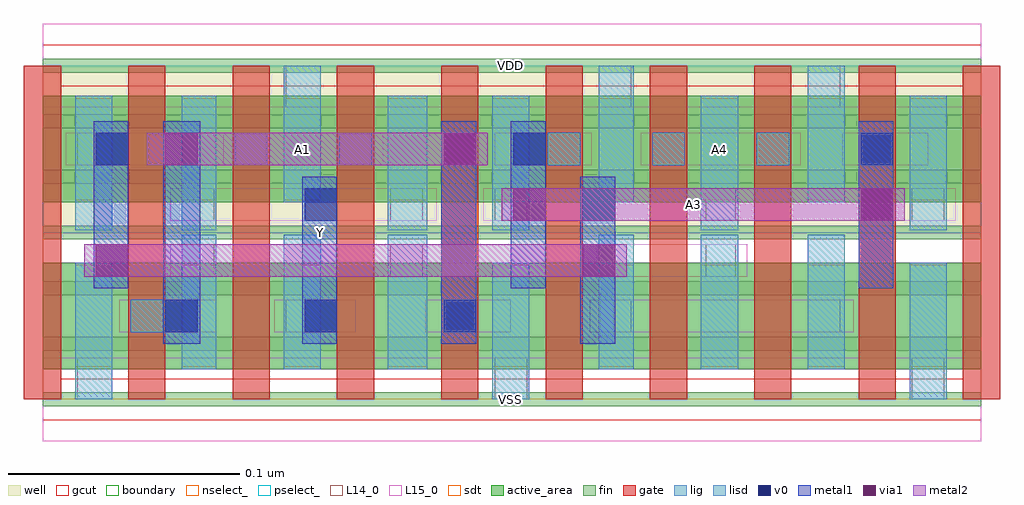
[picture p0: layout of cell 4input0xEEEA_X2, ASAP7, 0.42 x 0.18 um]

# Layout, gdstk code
import gdstk
lib = gdstk.Library(unit=1e-6, precision=1e-09)
def R(c, l, rs):  # rectangles x0, y0, x1, y1
    for r in rs: c.add(gdstk.rectangle(r[:2], r[2:], *l))
def A(c, l, x, y, w, h, nx, ny, dx, dy):  # array of equal rectangles
    R(c, l, [(x+i*dx, y+j*dy, x+i*dx+w, y+j*dy+h) for i in range(nx) for j in range(ny)])
def P(c, l, *ps):  # polygons
    for p in ps: c.add(gdstk.Polygon(p, *l))
well = (1, 0)
fin = (2, 0)
gate = (7, 0)
gcut = (10, 0)
active_area = (11, 0)
nselect_ = (12, 0)
pselect_ = (13, 0)
L14_0 = (14, 0)
L15_0 = (15, 0)
lig = (16, 0)
lisd = (17, 0)
v0 = (18, 0)
metal1 = (19, 0)
metal2 = (20, 0)
via1 = (21, 0)
sdt = (88, 0)
boundary = (100, 0)

c_4input0xeeea_x2 = lib.new_cell('4input0xEEEA_X2')
R(c_4input0xeeea_x2, well, [(0,0.072,0.405,0.144)])
A(c_4input0xeeea_x2, fin, 0, -0.003, 0.405, 0.006, 1, 7, 0, 0.024)
A(c_4input0xeeea_x2, gate, -0.008, 0, 0.016, 0.144, 10, 1, 0.045, 0)
P(c_4input0xeeea_x2, gcut, [(0,-0.009),(0,0),(-0.008,0),(-0.008,0.135),(0.008,0.135),(0.008,0.009),(0.397,0.009),(0.397,0.135),(-0.008,0.135),(-0.008,0.144),(0,0.144),(0,0.153),(0.405,0.153),(0.405,0.144),(0.413,0.144),(0.413,0),(0.405,0),(0.405,-0.009)])
R(c_4input0xeeea_x2, active_area, [(0,0.013,0.405,0.059), (0,0.085,0.405,0.131)])
R(c_4input0xeeea_x2, nselect_, [(0,0,0.405,0.072)])
R(c_4input0xeeea_x2, pselect_, [(0,0.072,0.405,0.144)])
A(c_4input0xeeea_x2, L14_0, 0.218, 0.101, 0.014, 0.014, 4, 1, 0.045, 0)
R(c_4input0xeeea_x2, L14_0, [(0.015,0,0.03,0.018), (0.195,0,0.209,0.018), (0.375,0,0.389,0.018), (0.038,0.029,0.052,0.043), (0.105,0.029,0.12,0.043), (0.173,0.029,0.187,0.043), (0.24,0.029,0.254,0.043), (0.33,0.029,0.344,0.043), (0.06,0.053,0.074,0.067), (0.15,0.053,0.164,0.067), (0.286,0.053,0.299,0.067), (0.06,0.077,0.074,0.091), (0.15,0.077,0.164,0.091), (0.195,0.077,0.209,0.091), (0.286,0.077,0.299,0.091), (0.375,0.077,0.389,0.091), (0.015,0.101,0.03,0.115), (0.083,0.101,0.097,0.115), (0.128,0.101,0.142,0.115), (0.105,0.126,0.12,0.144), (0.24,0.126,0.254,0.144), (0.33,0.126,0.344,0.144)])
R(c_4input0xeeea_x2, L15_0, [(0,-0.018,0.405,0.018), (0.033,0.029,0.075,0.043), (0.1,0.029,0.135,0.043), (0.165,0.029,0.202,0.043), (0.236,0.029,0.35,0.043), (0.055,0.053,0.304,0.067), (0.055,0.077,0.17,0.091), (0.19,0.077,0.394,0.091), (0.01,0.101,0.045,0.115), (0.078,0.101,0.147,0.115), (0.195,0.101,0.237,0.115), (0.258,0.101,0.327,0.115), (0.345,0.101,0.382,0.115), (0,0.126,0.405,0.162)])
A(c_4input0xeeea_x2, lig, 0.218, 0.101, 0.014, 0.014, 4, 1, 0.045, 0)
R(c_4input0xeeea_x2, lig, [(0.038,0.029,0.052,0.043), (0.173,0.029,0.187,0.043), (0.083,0.101,0.097,0.115), (0.128,0.101,0.142,0.115)])
A(c_4input0xeeea_x2, lisd, 0.014, 0, 0.016, 0.059, 3, 1, 0.18, 0)
A(c_4input0xeeea_x2, lisd, 0.194, 0.073, 0.016, 0.058, 3, 1, 0.09, 0)
R(c_4input0xeeea_x2, lisd, [(0.06,0.013,0.075,0.071), (0.104,0.013,0.12,0.071), (0.149,0.013,0.166,0.071), (0.24,0.013,0.255,0.071), (0.284,0.013,0.3,0.071), (0.33,0.013,0.346,0.071), (0.014,0.073,0.03,0.131), (0.06,0.073,0.075,0.131), (0.149,0.073,0.166,0.131), (0.104,0.085,0.12,0.144), (0.24,0.085,0.255,0.144), (0.33,0.085,0.346,0.144)])
A(c_4input0xeeea_x2, v0, 0.053, 0.029, 0.014, 0.014, 3, 1, 0.06, 0)
R(c_4input0xeeea_x2, v0, [(0.113,0.077,0.127,0.091), (0.233,0.077,0.247,0.091), (0.023,0.101,0.037,0.115), (0.203,0.101,0.217,0.115), (0.353,0.101,0.367,0.115)])
R(c_4input0xeeea_x2, metal1, [(0.052,0.024,0.068,0.12), (0.112,0.024,0.127,0.096), (0.172,0.024,0.187,0.12), (0.232,0.024,0.247,0.096), (0.022,0.048,0.037,0.12), (0.202,0.048,0.217,0.12), (0.352,0.048,0.367,0.12)])
R(c_4input0xeeea_x2, metal2, [(0.018,0.053,0.252,0.067), (0.198,0.077,0.372,0.091), (0.045,0.101,0.192,0.115)])
R(c_4input0xeeea_x2, via1, [(0.023,0.053,0.037,0.067), (0.233,0.053,0.247,0.067), (0.203,0.077,0.217,0.091), (0.353,0.077,0.367,0.091), (0.053,0.101,0.067,0.115), (0.173,0.101,0.187,0.115)])
A(c_4input0xeeea_x2, sdt, 0.014, 0.014, 0.016, 0.044, 4, 2, 0.09, 0.072)
R(c_4input0xeeea_x2, sdt, [(0.06,0.014,0.075,0.058), (0.149,0.014,0.166,0.058), (0.24,0.014,0.255,0.058), (0.33,0.014,0.346,0.058), (0.374,0.014,0.39,0.058), (0.06,0.086,0.075,0.13), (0.149,0.086,0.166,0.13), (0.24,0.086,0.255,0.13), (0.33,0.086,0.346,0.13), (0.374,0.086,0.39,0.13)])
R(c_4input0xeeea_x2, boundary, [(0,0,0.405,0.144)])
c_4input0xeeea_x2.add(gdstk.Label('VSS', (0.202,0), layer=15, texttype=251))
c_4input0xeeea_x2.add(gdstk.Label('VDD', (0.202,0.144), layer=15, texttype=251))
c_4input0xeeea_x2.add(gdstk.Label('A4', (0.292,0.108), layer=15, texttype=251))
c_4input0xeeea_x2.add(gdstk.Label('VSS', (0.202,0), layer=15, texttype=251))
c_4input0xeeea_x2.add(gdstk.Label('VDD', (0.202,0.144), layer=15, texttype=251))
c_4input0xeeea_x2.add(gdstk.Label('VSS', (0.202,0), layer=15, texttype=251))
c_4input0xeeea_x2.add(gdstk.Label('VDD', (0.202,0.144), layer=15, texttype=251))
c_4input0xeeea_x2.add(gdstk.Label('A1', (0.112,0.108), layer=15, texttype=251))
c_4input0xeeea_x2.add(gdstk.Label('VSS', (0.202,0), layer=15, texttype=251))
c_4input0xeeea_x2.add(gdstk.Label('VDD', (0.202,0.144), layer=15, texttype=251))
c_4input0xeeea_x2.add(gdstk.Label('VSS', (0.202,0), layer=15, texttype=251))
c_4input0xeeea_x2.add(gdstk.Label('VDD', (0.202,0.144), layer=15, texttype=251))
c_4input0xeeea_x2.add(gdstk.Label('A3', (0.281,0.084), layer=20, texttype=251))
c_4input0xeeea_x2.add(gdstk.Label('A2', (0.112,0.108), layer=20, texttype=251))
c_4input0xeeea_x2.add(gdstk.Label('VSS', (0.202,0), layer=3, texttype=251))
c_4input0xeeea_x2.add(gdstk.Label('VSS', (0.202,0), layer=3, texttype=251))
c_4input0xeeea_x2.add(gdstk.Label('VSS', (0.202,0), layer=3, texttype=251))
c_4input0xeeea_x2.add(gdstk.Label('VSS', (0.202,0), layer=3, texttype=251))
c_4input0xeeea_x2.add(gdstk.Label('VSS', (0.202,0), layer=3, texttype=251))
c_4input0xeeea_x2.add(gdstk.Label('VDD', (0.202,0.144), layer=1, texttype=251))
c_4input0xeeea_x2.add(gdstk.Label('VDD', (0.202,0.144), layer=1, texttype=251))
c_4input0xeeea_x2.add(gdstk.Label('VDD', (0.202,0.144), layer=1, texttype=251))
c_4input0xeeea_x2.add(gdstk.Label('VDD', (0.202,0.144), layer=1, texttype=251))
c_4input0xeeea_x2.add(gdstk.Label('VDD', (0.202,0.144), layer=1, texttype=251))
c_4input0xeeea_x2.add(gdstk.Label('Y', (0.12,0.072), layer=19, texttype=251))

lib.write_gds('4input0xEEEA_X2.gds')
